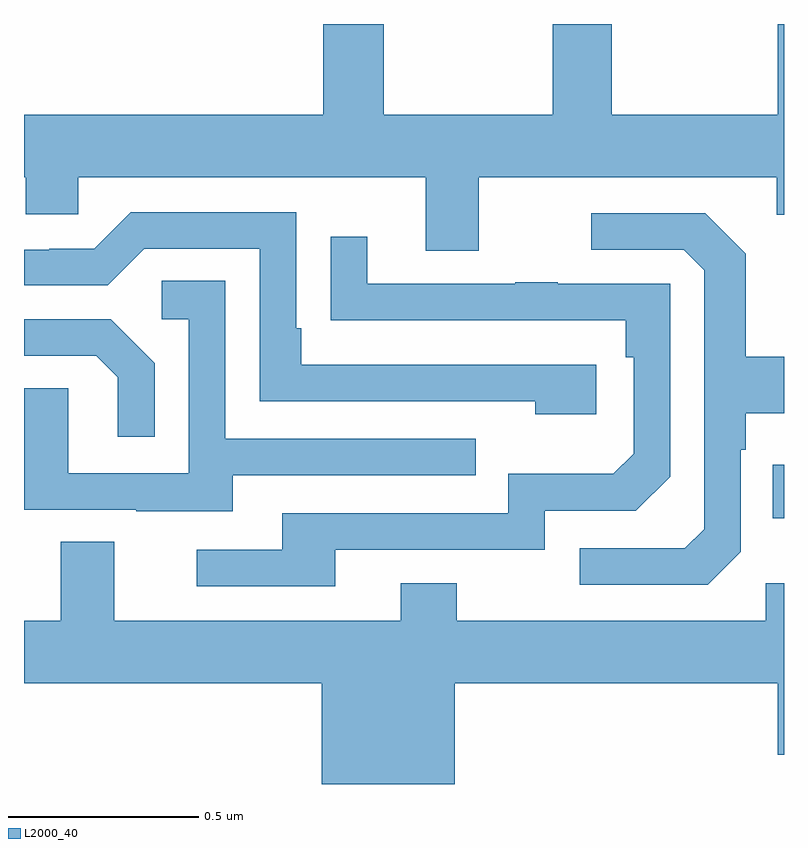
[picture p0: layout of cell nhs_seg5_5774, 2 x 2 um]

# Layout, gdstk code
import gdstk
lib = gdstk.Library(unit=1e-6, precision=1e-09)
def R(c, l, rs):  # rectangles x0, y0, x1, y1
    for r in rs: c.add(gdstk.rectangle(r[:2], r[2:], *l))
def P(c, l, *ps):  # polygons
    for p in ps: c.add(gdstk.Polygon(p, *l))
L2000_40 = (2000, 40)

nhs_seg5_5774 = lib.new_cell('nhs_seg5_5774')
R(nhs_seg5_5774, L2000_40, [(188.971,886.499,189,886.639)])
P(nhs_seg5_5774, L2000_40, [(188.197,887.396),(188.981,887.396),(188.981,887.297),(189,887.297),(189,887.799),(188.984,887.799),(188.984,887.56),(188.547,887.56),(188.547,887.799),(188.392,887.799),(188.392,887.56),(187.947,887.56),(187.947,887.799),(187.787,887.799),(187.787,887.56),(187,887.56),(187,887.396),(187.005,887.396),(187.005,887.298),(187.143,887.298),(187.143,887.396),(188.057,887.396),(188.057,887.202),(188.197,887.202)],
  [(188.506,886.902),(187.729,886.902),(187.729,886.999),(187.716,886.999),(187.716,887.304),(187.281,887.304),(187.185,887.208),(187.067,887.208),(187.067,887.205),(187,887.205),(187,887.112),(187.221,887.112),(187.317,887.208),(187.62,887.208),(187.62,886.806),(188.345,886.806),(188.345,886.772),(188.506,886.772)],
  [(188.886,886.41),(188.886,886.679),(188.899,886.679),(188.899,886.775),(189,886.775),(189,886.923),(188.899,886.923),(188.899,887.195),(188.793,887.301),(188.493,887.301),(188.493,887.205),(188.736,887.205),(188.79,887.151),(188.79,886.47),(188.739,886.419),(188.463,886.419),(188.463,886.323),(188.799,886.323)],
  [(187.819,886.416),(188.37,886.416),(188.37,886.518),(188.61,886.518),(188.7,886.608),(188.7,887.115),(188.405,887.115),(188.405,887.12),(188.293,887.12),(188.293,887.115),(187.903,887.115),(187.903,887.239),(187.807,887.239),(187.807,887.02),(187.909,887.02),(187.909,887.019),(188.584,887.019),(188.584,886.922),(188.604,886.922),(188.604,886.668),(188.551,886.615),(188.274,886.615),(188.274,886.512),(187.679,886.512),(187.679,886.416),(187.455,886.416),(187.455,886.32),(187.819,886.32)],
  [(187.549,886.611),(188.189,886.611),(188.189,886.707),(187.53,886.707),(187.53,887.123),(187.362,887.123),(187.362,887.022),(187.434,887.022),(187.434,886.617),(187.116,886.617),(187.116,886.841),(187,886.841),(187,886.521),(187.295,886.521),(187.295,886.517),(187.549,886.517)],
  [(187.344,886.906),(187.228,887.022),(187,887.022),(187,886.926),(187.19,886.926),(187.247,886.869),(187.247,886.713),(187.344,886.713)],
  [(188.134,886.064),(188.984,886.064),(188.984,885.876),(189,885.876),(189,886.327),(188.952,886.327),(188.952,886.228),(188.139,886.228),(188.139,886.327),(187.991,886.327),(187.991,886.228),(187.237,886.228),(187.237,886.436),(187.097,886.436),(187.097,886.228),(187,886.228),(187,886.064),(187.784,886.064),(187.784,885.799),(188.134,885.799)])

lib.write_gds('nhs_seg5_5774.gds')
